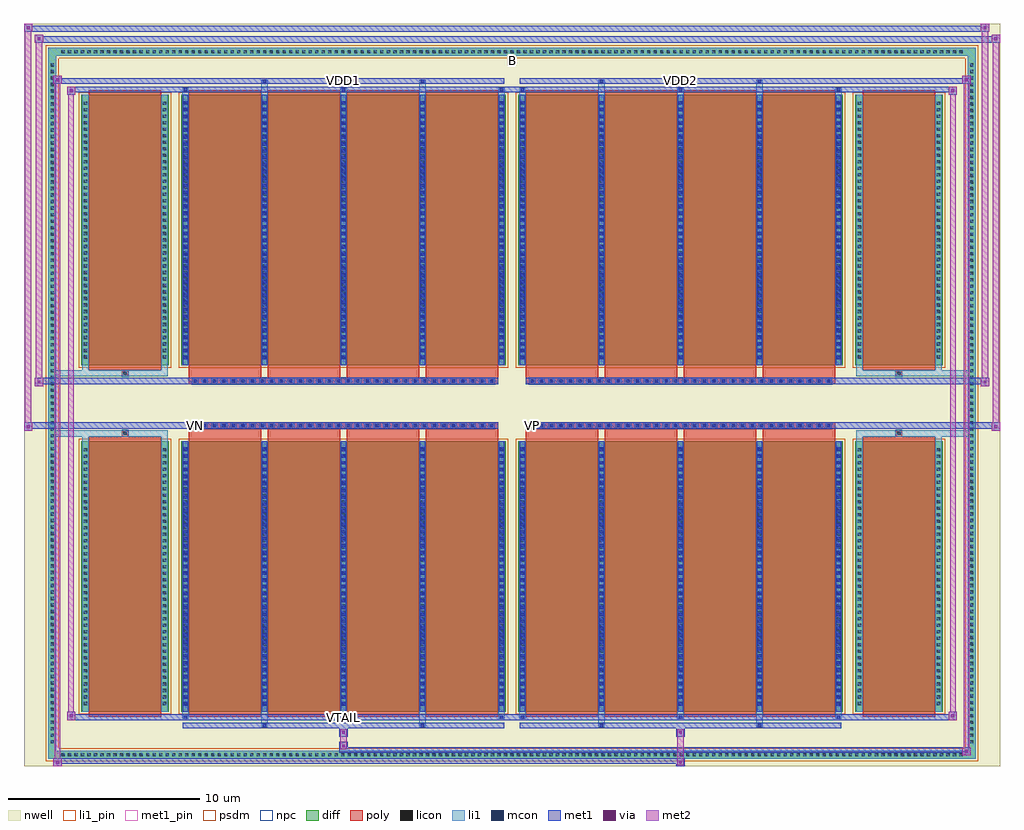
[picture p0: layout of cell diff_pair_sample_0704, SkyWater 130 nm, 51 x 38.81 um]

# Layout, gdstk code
import gdstk
lib = gdstk.Library(unit=1e-6, precision=5e-09)
def R(c, l, rs):  # rectangles x0, y0, x1, y1
    for r in rs: c.add(gdstk.rectangle(r[:2], r[2:], *l))
def A(c, l, x, y, w, h, nx, ny, dx, dy):  # array of equal rectangles
    R(c, l, [(x+i*dx, y+j*dy, x+i*dx+w, y+j*dy+h) for i in range(nx) for j in range(ny)])
def P(c, l, *ps):  # polygons
    for p in ps: c.add(gdstk.Polygon(p, *l))
nwell = (64, 20)
diff = (65, 20)
poly = (66, 20)
licon = (66, 44)
li1_pin = (67, 16)
li1 = (67, 20)
mcon = (67, 44)
met1_pin = (68, 16)
met1 = (68, 20)
via = (68, 44)
met2 = (69, 20)
psdm = (94, 20)
npc = (95, 20)

diff_pair_sample_0704 = lib.new_cell('diff_pair_sample_0704')
R(diff_pair_sample_0704, nwell, [(-25.5,-18.97,25.5,19.84), (-22.82,-17.16,-0.01,-0.8), (0.01,-17.16,22.82,-0.8), (-22.82,0.8,-0.01,17.16), (0.01,0.8,22.82,17.16)])
A(diff_pair_sample_0704, diff, -23.665, -18.57, 0.41, 0.41, 139, 2, 0.34, 36.73)
A(diff_pair_sample_0704, diff, -24.23, -17.885, 0.41, 0.41, 1, 105, 0, 0.34)
A(diff_pair_sample_0704, diff, 23.82, -17.885, 0.41, 0.41, 1, 105, 0, 0.34)
R(diff_pair_sample_0704, diff, [(-23.665,-18.57,23.665,-18.16), (-24.23,-17.885,-23.82,17.885), (23.82,-17.885,24.23,17.885), (-22.51,-16.115,-17.93,-1.985), (-17.29,-16.115,-0.32,-1.985), (0.32,-16.115,17.29,-1.985), (17.93,-16.115,22.51,-1.985), (-22.51,1.985,-17.93,16.115), (-17.29,1.985,-0.32,16.115), (0.32,1.985,17.29,16.115), (17.93,1.985,22.51,16.115), (-23.665,18.16,23.665,18.57)])
P(diff_pair_sample_0704, diff, [(24.23,18.57),(-24.23,18.57),(-24.23,-18.16),(-23.82,-18.16),(-23.82,18.16),(23.82,18.16),(23.82,-18.16),(-23.82,-18.16),(-24.23,-18.16),(-24.23,-18.57),(24.23,-18.57)])
A(diff_pair_sample_0704, poly, -16.9, -16.365, 3.8, 14.63, 4, 2, 4.13, 18.1)
A(diff_pair_sample_0704, poly, 0.71, -16.365, 3.8, 14.63, 4, 2, 4.13, 18.1)
A(diff_pair_sample_0704, poly, -16.9, -1.735, 3.8, 0.405, 4, 2, 4.13, 3.065)
A(diff_pair_sample_0704, poly, 0.71, -1.735, 3.8, 0.405, 4, 2, 4.13, 3.065)
A(diff_pair_sample_0704, poly, -16.72, -1.33, 0.33, 0.33, 32, 2, 0.5, 2.33)
A(diff_pair_sample_0704, poly, 0.89, -1.33, 0.33, 0.33, 32, 2, 0.5, 2.33)
R(diff_pair_sample_0704, poly, [(-22.12,-16.365,-18.32,-1.735), (18.32,-16.365,22.12,-1.735), (-20.385,-1.735,-20.055,-1.405), (-20.385,-1.735,-20.055,-1.405), (20.055,-1.735,20.385,-1.405), (20.055,-1.735,20.385,-1.405), (-16.9,-1.33,-0.71,-1), (0.71,-1.33,16.9,-1), (-16.9,1,-0.71,1.33), (0.71,1,16.9,1.33), (-20.385,1.405,-20.055,1.735), (-20.385,1.405,-20.055,1.735), (20.055,1.405,20.385,1.735), (20.055,1.405,20.385,1.735), (-22.12,1.735,-18.32,16.365), (18.32,1.735,22.12,16.365)])
A(diff_pair_sample_0704, licon, -23.545, -18.45, 0.17, 0.17, 139, 2, 0.34, 36.73)
A(diff_pair_sample_0704, licon, -24.11, -17.765, 0.17, 0.17, 1, 105, 0, 0.34)
A(diff_pair_sample_0704, licon, 23.94, -17.765, 0.17, 0.17, 1, 105, 0, 0.34)
A(diff_pair_sample_0704, licon, -22.37, -15.765, 0.17, 0.17, 1, 40, 0, 0.34)
A(diff_pair_sample_0704, licon, -18.24, -15.765, 0.17, 0.17, 1, 40, 0, 0.34)
A(diff_pair_sample_0704, licon, -17.15, -15.765, 0.17, 0.17, 5, 40, 4.13, 0.34)
A(diff_pair_sample_0704, licon, 0.46, -15.765, 0.17, 0.17, 5, 40, 4.13, 0.34)
A(diff_pair_sample_0704, licon, 18.07, -15.765, 0.17, 0.17, 1, 40, 0, 0.34)
A(diff_pair_sample_0704, licon, 22.2, -15.765, 0.17, 0.17, 1, 40, 0, 0.34)
A(diff_pair_sample_0704, licon, -16.64, -1.25, 0.17, 0.17, 32, 2, 0.5, 2.33)
A(diff_pair_sample_0704, licon, 0.97, -1.25, 0.17, 0.17, 32, 2, 0.5, 2.33)
A(diff_pair_sample_0704, licon, -22.37, 2.335, 0.17, 0.17, 1, 40, 0, 0.34)
A(diff_pair_sample_0704, licon, -18.24, 2.335, 0.17, 0.17, 1, 40, 0, 0.34)
A(diff_pair_sample_0704, licon, -17.15, 2.335, 0.17, 0.17, 5, 40, 4.13, 0.34)
A(diff_pair_sample_0704, licon, 0.46, 2.335, 0.17, 0.17, 5, 40, 4.13, 0.34)
A(diff_pair_sample_0704, licon, 18.07, 2.335, 0.17, 0.17, 1, 40, 0, 0.34)
A(diff_pair_sample_0704, licon, 22.2, 2.335, 0.17, 0.17, 1, 40, 0, 0.34)
R(diff_pair_sample_0704, licon, [(-20.305,-1.655,-20.135,-1.485), (20.135,-1.655,20.305,-1.485), (-20.305,1.485,-20.135,1.655), (20.135,1.485,20.305,1.655)])
R(diff_pair_sample_0704, li1_pin, [(-0.25,17.66,0.25,18.16)])
A(diff_pair_sample_0704, li1, -23.625, -18.53, 0.33, 0.33, 139, 2, 0.34, 36.73)
A(diff_pair_sample_0704, li1, -24.19, -17.845, 0.33, 0.33, 1, 105, 0, 0.34)
A(diff_pair_sample_0704, li1, 23.86, -17.845, 0.33, 0.33, 1, 105, 0, 0.34)
A(diff_pair_sample_0704, li1, -17.23, -16.49, 0.33, 0.375, 3, 2, 8.26, 32.605)
A(diff_pair_sample_0704, li1, -17.15, -16.49, 0.17, 0.17, 3, 2, 8.26, 32.81)
A(diff_pair_sample_0704, li1, 0.38, -16.49, 0.33, 0.375, 3, 2, 8.26, 32.605)
A(diff_pair_sample_0704, li1, 0.46, -16.49, 0.17, 0.17, 3, 2, 8.26, 32.81)
A(diff_pair_sample_0704, li1, -17.23, -16.115, 0.33, 14.13, 5, 2, 4.13, 18.1)
A(diff_pair_sample_0704, li1, 0.38, -16.115, 0.33, 14.13, 5, 2, 4.13, 18.1)
A(diff_pair_sample_0704, li1, -22.45, -15.845, 0.33, 0.33, 1, 40, 0, 0.34)
A(diff_pair_sample_0704, li1, -18.32, -15.845, 0.33, 0.33, 1, 40, 0, 0.34)
A(diff_pair_sample_0704, li1, -17.23, -15.845, 0.33, 0.33, 5, 40, 4.13, 0.34)
A(diff_pair_sample_0704, li1, 0.38, -15.845, 0.33, 0.33, 5, 40, 4.13, 0.34)
A(diff_pair_sample_0704, li1, 17.99, -15.845, 0.33, 0.33, 1, 40, 0, 0.34)
A(diff_pair_sample_0704, li1, 22.12, -15.845, 0.33, 0.33, 1, 40, 0, 0.34)
A(diff_pair_sample_0704, li1, -17.15, -15.795, 0.17, 0.17, 5, 38, 4.13, 0.36)
A(diff_pair_sample_0704, li1, -17.15, -15.795, 0.17, 13.49, 5, 2, 4.13, 18.1)
A(diff_pair_sample_0704, li1, 0.46, -15.795, 0.17, 0.17, 5, 38, 4.13, 0.36)
A(diff_pair_sample_0704, li1, 0.46, -15.795, 0.17, 13.49, 5, 2, 4.13, 18.1)
A(diff_pair_sample_0704, li1, -16.72, -1.33, 0.33, 0.33, 32, 2, 0.5, 2.33)
A(diff_pair_sample_0704, li1, 0.89, -1.33, 0.33, 0.33, 32, 2, 0.5, 2.33)
A(diff_pair_sample_0704, li1, -22.45, 2.255, 0.33, 0.33, 1, 40, 0, 0.34)
A(diff_pair_sample_0704, li1, -18.32, 2.255, 0.33, 0.33, 1, 40, 0, 0.34)
A(diff_pair_sample_0704, li1, -17.23, 2.255, 0.33, 0.33, 5, 40, 4.13, 0.34)
A(diff_pair_sample_0704, li1, 0.38, 2.255, 0.33, 0.33, 5, 40, 4.13, 0.34)
A(diff_pair_sample_0704, li1, 17.99, 2.255, 0.33, 0.33, 1, 40, 0, 0.34)
A(diff_pair_sample_0704, li1, 22.12, 2.255, 0.33, 0.33, 1, 40, 0, 0.34)
A(diff_pair_sample_0704, li1, -17.15, 2.305, 0.17, 0.17, 5, 38, 4.13, 0.36)
A(diff_pair_sample_0704, li1, 0.46, 2.305, 0.17, 0.17, 5, 38, 4.13, 0.36)
R(diff_pair_sample_0704, li1, [(-24.23,-18.57,-23.82,-18.16), (-24.23,-18.57,-23.82,-18.16), (-23.82,-18.57,23.82,-18.16), (23.82,-18.57,24.23,-18.16), (23.82,-18.57,24.23,-18.16), (-24.23,-18.16,-23.82,18.16), (23.82,-18.16,24.23,18.16), (-13.1,-16.92,-12.77,-16.115), (-13.02,-16.92,-12.85,-16.75), (-4.84,-16.92,-4.51,-16.115), (-4.76,-16.92,-4.59,-16.75), (4.51,-16.92,4.84,-16.115), (4.59,-16.92,4.76,-16.75), (12.77,-16.92,13.1,-16.115), (12.85,-16.92,13.02,-16.75), (-22.45,-16.115,-22.12,-1.985), (-18.32,-16.115,-17.99,-1.985), (17.99,-16.115,18.32,-1.985), (22.12,-16.115,22.45,-1.985), (-22.45,-1.985,-22.12,-1.405), (-18.32,-1.985,-17.99,-1.405), (17.99,-1.985,18.32,-1.405), (22.12,-1.985,22.45,-1.405), (-24.23,-1.735,-20.385,-1.405), (-22.45,-1.735,-20.385,-1.405), (-20.385,-1.735,-20.055,-1.405), (-20.055,-1.735,-17.99,-1.405), (17.99,-1.735,20.055,-1.405), (20.055,-1.735,20.385,-1.405), (20.055,-1.735,24.23,-1.405), (20.385,-1.735,22.45,-1.405), (-24.23,1.405,-20.385,1.735), (-22.45,1.405,-20.385,1.735), (-22.45,1.405,-22.12,1.985), (-20.385,1.405,-20.055,1.735), (-20.055,1.405,-17.99,1.735), (-18.32,1.405,-17.99,1.985), (17.99,1.405,20.055,1.735), (17.99,1.405,18.32,1.985), (20.055,1.405,20.385,1.735), (20.055,1.405,24.23,1.735), (20.385,1.405,22.45,1.735), (22.12,1.405,22.45,1.985), (-22.45,1.985,-22.12,16.115), (-18.32,1.985,-17.99,16.115), (17.99,1.985,18.32,16.115), (22.12,1.985,22.45,16.115), (-13.1,16.115,-12.77,16.92), (-4.84,16.115,-4.51,16.92), (4.51,16.115,4.84,16.92), (12.77,16.115,13.1,16.92), (-13.02,16.75,-12.85,16.92), (-4.76,16.75,-4.59,16.92), (4.59,16.75,4.76,16.92), (12.85,16.75,13.02,16.92), (-24.23,18.16,-23.82,18.57), (-24.23,18.16,-23.82,18.57), (-23.82,18.16,23.82,18.57), (23.82,18.16,24.23,18.57), (23.82,18.16,24.23,18.57)])
A(diff_pair_sample_0704, mcon, -17.15, -16.49, 0.17, 0.17, 3, 2, 8.26, 32.81)
A(diff_pair_sample_0704, mcon, 0.46, -16.49, 0.17, 0.17, 3, 2, 8.26, 32.81)
A(diff_pair_sample_0704, mcon, -17.15, -15.795, 0.17, 0.17, 5, 38, 4.13, 0.36)
A(diff_pair_sample_0704, mcon, 0.46, -15.795, 0.17, 0.17, 5, 38, 4.13, 0.36)
A(diff_pair_sample_0704, mcon, -16.64, -1.25, 0.17, 0.17, 32, 2, 0.5, 2.33)
A(diff_pair_sample_0704, mcon, 0.97, -1.25, 0.17, 0.17, 32, 2, 0.5, 2.33)
A(diff_pair_sample_0704, mcon, -17.15, 2.305, 0.17, 0.17, 5, 38, 4.13, 0.36)
A(diff_pair_sample_0704, mcon, 0.46, 2.305, 0.17, 0.17, 5, 38, 4.13, 0.36)
R(diff_pair_sample_0704, mcon, [(-13.02,-16.92,-12.85,-16.75), (-4.76,-16.92,-4.59,-16.75), (4.59,-16.92,4.76,-16.75), (12.85,-16.92,13.02,-16.75), (-13.02,16.75,-12.85,16.92), (-4.76,16.75,-4.59,16.92), (4.59,16.75,4.76,16.92), (12.85,16.75,13.02,16.92)])
R(diff_pair_sample_0704, met1_pin, [(-8.94,-16.53,-8.67,-16.26), (-16.69,-1.29,-16.42,-1.02), (0.92,-1.29,1.19,-1.02), (-8.94,16.71,-8.67,16.98), (8.67,16.71,8.94,16.98)])
A(diff_pair_sample_0704, met1, -17.21, -16.55, 0.29, 0.29, 3, 2, 8.26, 32.81)
A(diff_pair_sample_0704, met1, 0.4, -16.55, 0.29, 0.29, 3, 2, 8.26, 32.81)
A(diff_pair_sample_0704, met1, -17.21, -16.115, 0.29, 14.13, 5, 2, 4.13, 18.1)
A(diff_pair_sample_0704, met1, 0.4, -16.115, 0.29, 14.13, 5, 2, 4.13, 18.1)
A(diff_pair_sample_0704, met1, -17.21, -15.855, 0.29, 0.29, 5, 38, 4.13, 0.36)
A(diff_pair_sample_0704, met1, 0.4, -15.855, 0.29, 0.29, 5, 38, 4.13, 0.36)
A(diff_pair_sample_0704, met1, -16.7, -1.31, 0.29, 0.29, 32, 2, 0.5, 2.33)
A(diff_pair_sample_0704, met1, 0.91, -1.31, 0.29, 0.29, 32, 2, 0.5, 2.33)
A(diff_pair_sample_0704, met1, -17.21, 2.245, 0.29, 0.29, 5, 38, 4.13, 0.36)
A(diff_pair_sample_0704, met1, 0.4, 2.245, 0.29, 0.29, 5, 38, 4.13, 0.36)
R(diff_pair_sample_0704, met1, [(-23.96,-18.97,-23.53,-18.54), (8.59,-18.97,9.02,-18.54), (-23.96,-18.83,9.02,-18.54), (23.53,-18.4,23.96,-17.97), (-9.02,-18.26,23.96,-17.97), (-9.02,-18.12,-8.59,-17.69), (-9.02,-17.41,-8.59,-16.98), (8.59,-17.41,9.02,-16.98), (-17.21,-16.98,-0.4,-16.69), (-13.08,-16.98,-12.79,-16.69), (-4.82,-16.98,-4.53,-16.69), (0.4,-16.98,17.21,-16.69), (4.53,-16.98,4.82,-16.69), (12.79,-16.98,13.08,-16.69), (-23.25,-16.55,-22.82,-16.12), (-23.25,-16.55,-17.21,-16.26), (-17.21,-16.55,-0.4,-16.26), (-0.4,-16.55,0.4,-16.26), (0.4,-16.55,17.21,-16.26), (17.21,-16.55,23.25,-16.26), (22.82,-16.55,23.25,-16.12), (-25.5,-1.43,-25.07,-1), (25.07,-1.43,25.5,-1), (-25.5,-1.33,-0.71,-1), (-16.9,-1.33,-0.71,-1), (0.71,-1.33,16.9,-1), (0.71,-1.33,25.5,-1), (-24.93,0.9,-24.5,1.33), (24.5,0.9,24.93,1.33), (-24.93,1,-16.9,1.33), (-16.9,1,-0.71,1.33), (0.71,1,16.9,1.33), (16.9,1,24.93,1.33), (-23.25,16.12,-22.82,16.55), (22.82,16.12,23.25,16.55), (-23.25,16.26,-17.21,16.55), (-17.21,16.26,-0.4,16.55), (-0.4,16.26,0.4,16.55), (0.4,16.26,17.21,16.55), (17.21,16.26,23.25,16.55), (-23.96,16.69,-23.53,17.12), (-23.96,16.69,-17.21,16.98), (-17.21,16.69,-0.4,16.98), (-13.08,16.69,-12.79,16.98), (-4.82,16.69,-4.53,16.98), (0.4,16.69,17.21,16.98), (4.53,16.69,4.82,16.98), (12.79,16.69,13.08,16.98), (17.21,16.69,23.96,16.98), (23.53,16.69,23.96,17.12), (-24.93,18.84,-24.5,19.27), (-24.93,18.84,-22.82,19.17), (-22.82,18.84,22.82,19.17), (22.82,18.84,25.5,19.17), (25.07,18.84,25.5,19.27), (-25.5,19.41,-25.07,19.84), (-25.5,19.41,-22.82,19.74), (-22.82,19.41,22.82,19.74), (22.82,19.41,24.93,19.74), (24.5,19.41,24.93,19.84)])
R(diff_pair_sample_0704, via, [(-23.82,-18.83,-23.67,-18.68), (8.73,-18.83,8.88,-18.68), (23.67,-18.26,23.82,-18.11), (-8.88,-17.98,-8.73,-17.83), (-8.88,-17.27,-8.73,-17.12), (8.73,-17.27,8.88,-17.12), (-23.11,-16.41,-22.96,-16.26), (22.96,-16.41,23.11,-16.26), (-25.36,-1.29,-25.21,-1.14), (25.21,-1.29,25.36,-1.14), (-24.79,1.04,-24.64,1.19), (24.64,1.04,24.79,1.19), (-23.11,16.26,-22.96,16.41), (22.96,16.26,23.11,16.41), (-23.82,16.83,-23.67,16.98), (23.67,16.83,23.82,16.98), (-24.79,18.98,-24.64,19.13), (25.21,18.98,25.36,19.13), (-25.36,19.55,-25.21,19.7), (24.64,19.55,24.79,19.7)])
R(diff_pair_sample_0704, met2, [(-23.96,-18.97,-23.53,-18.54), (-23.89,-18.97,-23.6,17.12), (-23.6,-18.97,-23.53,-18.54), (-23.91,-18.92,-23.58,-18.59), (8.64,-18.92,8.97,-18.59), (8.64,-18.59,8.97,-17.36), (23.53,-18.4,23.96,-17.97), (23.6,-18.4,23.89,17.12), (23.89,-18.4,23.96,-17.97), (23.58,-18.35,23.91,-18.02), (-8.97,-18.07,-8.64,-17.74), (-8.97,-17.74,-8.64,-17.36), (-8.97,-17.36,-8.64,-17.03), (8.64,-17.36,8.97,-17.03), (-23.25,-16.55,-22.82,-16.12), (-23.18,-16.55,-22.89,16.55), (-22.89,-16.55,-22.82,-16.12), (22.82,-16.55,23.25,-16.12), (22.89,-16.55,23.18,16.55), (23.18,-16.55,23.25,-16.12), (-23.2,-16.5,-22.87,-16.17), (22.87,-16.5,23.2,-16.17), (-25.5,-1.43,-25.07,-1), (-25.45,-1.43,-25.12,19.84), (-25.12,-1.43,-25.07,-1), (25.07,-1.43,25.5,-1), (25.12,-1.43,25.45,19.27), (25.45,-1.43,25.5,-1), (-25.45,-1.38,-25.12,-1.05), (25.12,-1.38,25.45,-1.05), (-24.93,0.9,-24.5,1.33), (-24.88,0.9,-24.55,19.27), (-24.55,0.9,-24.5,1.33), (24.5,0.9,24.93,1.33), (24.55,0.9,24.88,19.84), (24.88,0.9,24.93,1.33), (-24.88,0.95,-24.55,1.28), (24.55,0.95,24.88,1.28), (-23.25,16.12,-22.82,16.55), (-22.89,16.12,-22.82,16.55), (22.82,16.12,23.25,16.55), (23.18,16.12,23.25,16.55), (-23.2,16.17,-22.87,16.5), (22.87,16.17,23.2,16.5), (-23.96,16.69,-23.53,17.12), (-23.6,16.69,-23.53,17.12), (23.53,16.69,23.96,17.12), (23.89,16.69,23.96,17.12), (-23.91,16.74,-23.58,17.07), (23.58,16.74,23.91,17.07), (-24.93,18.84,-24.5,19.27), (-24.55,18.84,-24.5,19.27), (25.07,18.84,25.5,19.27), (25.45,18.84,25.5,19.27), (-24.88,18.89,-24.55,19.22), (25.12,18.89,25.45,19.22), (-25.5,19.41,-25.07,19.84), (-25.12,19.41,-25.07,19.84), (24.5,19.41,24.93,19.84), (24.88,19.41,24.93,19.84), (-25.45,19.46,-25.12,19.79), (24.55,19.46,24.88,19.79)])
R(diff_pair_sample_0704, psdm, [(-22.64,-16.245,-17.8,-1.855), (-17.42,-16.245,-0.19,-1.855), (0.19,-16.245,17.42,-1.855), (17.8,-16.245,22.64,-1.855), (-22.64,1.855,-17.8,16.245), (-17.42,1.855,-0.19,16.245), (0.19,1.855,17.42,16.245), (17.8,1.855,22.64,16.245)])
P(diff_pair_sample_0704, psdm, [(24.36,18.7),(-24.36,18.7),(-24.36,-18.03),(-23.69,-18.03),(-23.69,18.03),(23.69,18.03),(23.69,-18.03),(-23.69,-18.03),(-24.36,-18.03),(-24.36,-18.7),(24.36,-18.7)])
A(diff_pair_sample_0704, npc, -16.74, -1.35, 0.37, 0.37, 32, 2, 0.5, 2.33)
A(diff_pair_sample_0704, npc, 0.87, -1.35, 0.37, 0.37, 32, 2, 0.5, 2.33)
R(diff_pair_sample_0704, npc, [(-20.405,-1.755,-20.035,-1.385), (20.035,-1.755,20.405,-1.385), (-16.74,-1.35,-15.87,-0.98), (-16.74,-1.35,-15.87,-0.98), (-16.24,-1.35,-15.37,-0.98), (-16.24,-1.35,-15.37,-0.98), (-15.74,-1.35,-14.87,-0.98), (-15.74,-1.35,-14.87,-0.98), (-15.24,-1.35,-14.37,-0.98), (-15.24,-1.35,-14.37,-0.98), (-14.74,-1.35,-13.87,-0.98), (-14.74,-1.35,-13.87,-0.98), (-14.24,-1.35,-13.37,-0.98), (-14.24,-1.35,-13.37,-0.98), (-13.74,-1.35,-12.87,-0.98), (-13.74,-1.35,-12.87,-0.98), (-13.24,-1.35,-12.37,-0.98), (-13.24,-1.35,-12.37,-0.98), (-12.74,-1.35,-11.87,-0.98), (-12.74,-1.35,-11.87,-0.98), (-12.24,-1.35,-11.37,-0.98), (-12.24,-1.35,-11.37,-0.98), (-11.74,-1.35,-10.87,-0.98), (-11.74,-1.35,-10.87,-0.98), (-11.24,-1.35,-10.37,-0.98), (-11.24,-1.35,-10.37,-0.98), (-10.74,-1.35,-9.87,-0.98), (-10.74,-1.35,-9.87,-0.98), (-10.24,-1.35,-9.37,-0.98), (-10.24,-1.35,-9.37,-0.98), (-9.74,-1.35,-8.87,-0.98), (-9.74,-1.35,-8.87,-0.98), (-9.24,-1.35,-8.37,-0.98), (-9.24,-1.35,-8.37,-0.98), (-8.74,-1.35,-7.87,-0.98), (-8.74,-1.35,-7.87,-0.98), (-8.24,-1.35,-7.37,-0.98), (-8.24,-1.35,-7.37,-0.98), (-7.74,-1.35,-6.87,-0.98), (-7.74,-1.35,-6.87,-0.98), (-7.24,-1.35,-6.37,-0.98), (-7.24,-1.35,-6.37,-0.98), (-6.74,-1.35,-5.87,-0.98), (-6.74,-1.35,-5.87,-0.98), (-6.24,-1.35,-5.37,-0.98), (-6.24,-1.35,-5.37,-0.98), (-5.74,-1.35,-4.87,-0.98), (-5.74,-1.35,-4.87,-0.98), (-5.24,-1.35,-4.37,-0.98), (-5.24,-1.35,-4.37,-0.98), (-4.74,-1.35,-3.87,-0.98), (-4.74,-1.35,-3.87,-0.98), (-4.24,-1.35,-3.37,-0.98), (-4.24,-1.35,-3.37,-0.98), (-3.74,-1.35,-2.87,-0.98), (-3.74,-1.35,-2.87,-0.98), (-3.24,-1.35,-2.37,-0.98), (-3.24,-1.35,-2.37,-0.98), (-2.74,-1.35,-1.87,-0.98), (-2.74,-1.35,-1.87,-0.98), (-2.24,-1.35,-1.37,-0.98), (-2.24,-1.35,-1.37,-0.98), (-1.74,-1.35,-0.87,-0.98), (-1.74,-1.35,-0.87,-0.98), (0.87,-1.35,1.74,-0.98), (0.87,-1.35,1.74,-0.98), (1.37,-1.35,2.24,-0.98), (1.37,-1.35,2.24,-0.98), (1.87,-1.35,2.74,-0.98), (1.87,-1.35,2.74,-0.98), (2.37,-1.35,3.24,-0.98), (2.37,-1.35,3.24,-0.98), (2.87,-1.35,3.74,-0.98), (2.87,-1.35,3.74,-0.98), (3.37,-1.35,4.24,-0.98), (3.37,-1.35,4.24,-0.98), (3.87,-1.35,4.74,-0.98), (3.87,-1.35,4.74,-0.98), (4.37,-1.35,5.24,-0.98), (4.37,-1.35,5.24,-0.98), (4.87,-1.35,5.74,-0.98), (4.87,-1.35,5.74,-0.98), (5.37,-1.35,6.24,-0.98), (5.37,-1.35,6.24,-0.98), (5.87,-1.35,6.74,-0.98), (5.87,-1.35,6.74,-0.98), (6.37,-1.35,7.24,-0.98), (6.37,-1.35,7.24,-0.98), (6.87,-1.35,7.74,-0.98), (6.87,-1.35,7.74,-0.98), (7.37,-1.35,8.24,-0.98), (7.37,-1.35,8.24,-0.98), (7.87,-1.35,8.74,-0.98), (7.87,-1.35,8.74,-0.98), (8.37,-1.35,9.24,-0.98), (8.37,-1.35,9.24,-0.98), (8.87,-1.35,9.74,-0.98), (8.87,-1.35,9.74,-0.98), (9.37,-1.35,10.24,-0.98), (9.37,-1.35,10.24,-0.98), (9.87,-1.35,10.74,-0.98), (9.87,-1.35,10.74,-0.98), (10.37,-1.35,11.24,-0.98), (10.37,-1.35,11.24,-0.98), (10.87,-1.35,11.74,-0.98), (10.87,-1.35,11.74,-0.98), (11.37,-1.35,12.24,-0.98), (11.37,-1.35,12.24,-0.98), (11.87,-1.35,12.74,-0.98), (11.87,-1.35,12.74,-0.98), (12.37,-1.35,13.24,-0.98), (12.37,-1.35,13.24,-0.98), (12.87,-1.35,13.74,-0.98), (12.87,-1.35,13.74,-0.98), (13.37,-1.35,14.24,-0.98), (13.37,-1.35,14.24,-0.98), (13.87,-1.35,14.74,-0.98), (13.87,-1.35,14.74,-0.98), (14.37,-1.35,15.24,-0.98), (14.37,-1.35,15.24,-0.98), (14.87,-1.35,15.74,-0.98), (14.87,-1.35,15.74,-0.98), (15.37,-1.35,16.24,-0.98), (15.37,-1.35,16.24,-0.98), (15.87,-1.35,16.74,-0.98), (15.87,-1.35,16.74,-0.98), (-16.74,0.98,-15.87,1.35), (-16.74,0.98,-15.87,1.35), (-16.24,0.98,-15.37,1.35), (-16.24,0.98,-15.37,1.35), (-15.74,0.98,-14.87,1.35), (-15.74,0.98,-14.87,1.35), (-15.24,0.98,-14.37,1.35), (-15.24,0.98,-14.37,1.35), (-14.74,0.98,-13.87,1.35), (-14.74,0.98,-13.87,1.35), (-14.24,0.98,-13.37,1.35), (-14.24,0.98,-13.37,1.35), (-13.74,0.98,-12.87,1.35), (-13.74,0.98,-12.87,1.35), (-13.24,0.98,-12.37,1.35), (-13.24,0.98,-12.37,1.35), (-12.74,0.98,-11.87,1.35), (-12.74,0.98,-11.87,1.35), (-12.24,0.98,-11.37,1.35), (-12.24,0.98,-11.37,1.35), (-11.74,0.98,-10.87,1.35), (-11.74,0.98,-10.87,1.35), (-11.24,0.98,-10.37,1.35), (-11.24,0.98,-10.37,1.35), (-10.74,0.98,-9.87,1.35), (-10.74,0.98,-9.87,1.35), (-10.24,0.98,-9.37,1.35), (-10.24,0.98,-9.37,1.35), (-9.74,0.98,-8.87,1.35), (-9.74,0.98,-8.87,1.35), (-9.24,0.98,-8.37,1.35), (-9.24,0.98,-8.37,1.35), (-8.74,0.98,-7.87,1.35), (-8.74,0.98,-7.87,1.35), (-8.24,0.98,-7.37,1.35), (-8.24,0.98,-7.37,1.35), (-7.74,0.98,-6.87,1.35), (-7.74,0.98,-6.87,1.35), (-7.24,0.98,-6.37,1.35), (-7.24,0.98,-6.37,1.35), (-6.74,0.98,-5.87,1.35), (-6.74,0.98,-5.87,1.35), (-6.24,0.98,-5.37,1.35), (-6.24,0.98,-5.37,1.35), (-5.74,0.98,-4.87,1.35), (-5.74,0.98,-4.87,1.35), (-5.24,0.98,-4.37,1.35), (-5.24,0.98,-4.37,1.35), (-4.74,0.98,-3.87,1.35), (-4.74,0.98,-3.87,1.35), (-4.24,0.98,-3.37,1.35), (-4.24,0.98,-3.37,1.35), (-3.74,0.98,-2.87,1.35), (-3.74,0.98,-2.87,1.35), (-3.24,0.98,-2.37,1.35), (-3.24,0.98,-2.37,1.35), (-2.74,0.98,-1.87,1.35), (-2.74,0.98,-1.87,1.35), (-2.24,0.98,-1.37,1.35), (-2.24,0.98,-1.37,1.35), (-1.74,0.98,-0.87,1.35), (-1.74,0.98,-0.87,1.35), (0.87,0.98,1.74,1.35), (0.87,0.98,1.74,1.35), (1.37,0.98,2.24,1.35), (1.37,0.98,2.24,1.35), (1.87,0.98,2.74,1.35), (1.87,0.98,2.74,1.35), (2.37,0.98,3.24,1.35), (2.37,0.98,3.24,1.35), (2.87,0.98,3.74,1.35), (2.87,0.98,3.74,1.35), (3.37,0.98,4.24,1.35), (3.37,0.98,4.24,1.35), (3.87,0.98,4.74,1.35), (3.87,0.98,4.74,1.35), (4.37,0.98,5.24,1.35), (4.37,0.98,5.24,1.35), (4.87,0.98,5.74,1.35), (4.87,0.98,5.74,1.35), (5.37,0.98,6.24,1.35), (5.37,0.98,6.24,1.35), (5.87,0.98,6.74,1.35), (5.87,0.98,6.74,1.35), (6.37,0.98,7.24,1.35), (6.37,0.98,7.24,1.35), (6.87,0.98,7.74,1.35), (6.87,0.98,7.74,1.35), (7.37,0.98,8.24,1.35), (7.37,0.98,8.24,1.35), (7.87,0.98,8.74,1.35), (7.87,0.98,8.74,1.35), (8.37,0.98,9.24,1.35), (8.37,0.98,9.24,1.35), (8.87,0.98,9.74,1.35), (8.87,0.98,9.74,1.35), (9.37,0.98,10.24,1.35), (9.37,0.98,10.24,1.35), (9.87,0.98,10.74,1.35), (9.87,0.98,10.74,1.35), (10.37,0.98,11.24,1.35), (10.37,0.98,11.24,1.35), (10.87,0.98,11.74,1.35), (10.87,0.98,11.74,1.35), (11.37,0.98,12.24,1.35), (11.37,0.98,12.24,1.35), (11.87,0.98,12.74,1.35), (11.87,0.98,12.74,1.35), (12.37,0.98,13.24,1.35), (12.37,0.98,13.24,1.35), (12.87,0.98,13.74,1.35), (12.87,0.98,13.74,1.35), (13.37,0.98,14.24,1.35), (13.37,0.98,14.24,1.35), (13.87,0.98,14.74,1.35), (13.87,0.98,14.74,1.35), (14.37,0.98,15.24,1.35), (14.37,0.98,15.24,1.35), (14.87,0.98,15.74,1.35), (14.87,0.98,15.74,1.35), (15.37,0.98,16.24,1.35), (15.37,0.98,16.24,1.35), (15.87,0.98,16.74,1.35), (15.87,0.98,16.74,1.35), (-20.405,1.385,-20.035,1.755), (20.035,1.385,20.405,1.755)])
diff_pair_sample_0704.add(gdstk.Label('VTAIL', (-8.805,-16.395), layer=68, texttype=5))
diff_pair_sample_0704.add(gdstk.Label('VN', (-16.555,-1.155), layer=68, texttype=5))
diff_pair_sample_0704.add(gdstk.Label('VP', (1.055,-1.155), layer=68, texttype=5))
diff_pair_sample_0704.add(gdstk.Label('B', (0,17.91), layer=67, texttype=5))
diff_pair_sample_0704.add(gdstk.Label('VDD2', (8.805,16.845), layer=68, texttype=5))
diff_pair_sample_0704.add(gdstk.Label('VDD1', (-8.805,16.845), layer=68, texttype=5))

lib.write_gds('diff_pair_sample_0704.gds')
